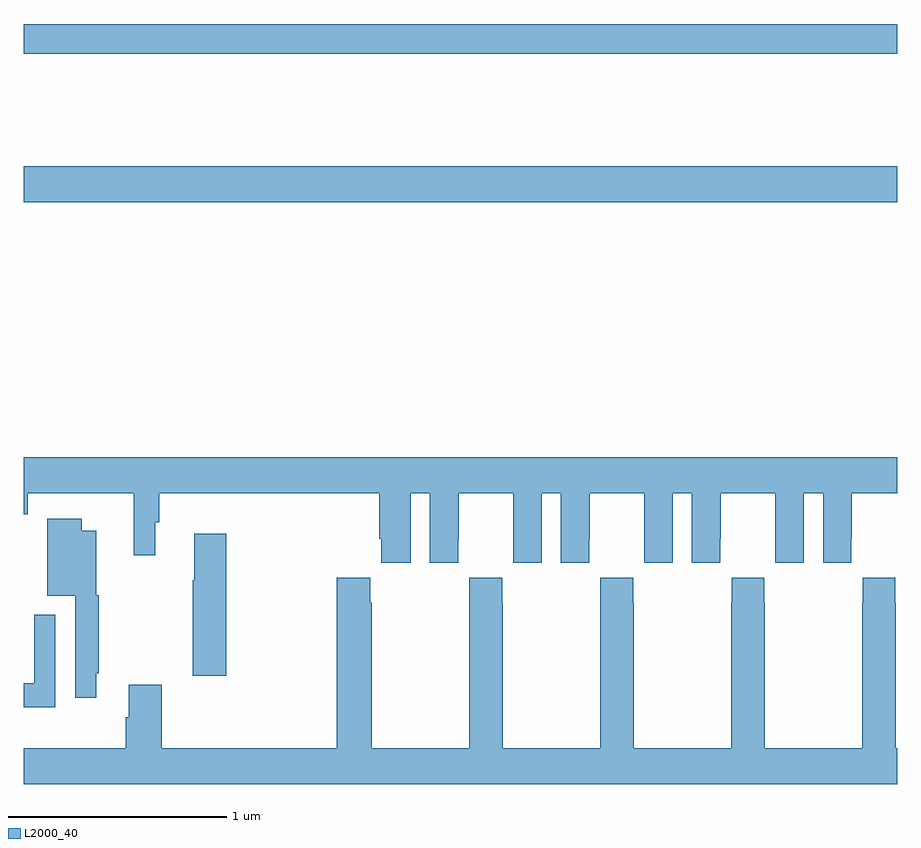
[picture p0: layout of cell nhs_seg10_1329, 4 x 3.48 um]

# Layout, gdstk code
import gdstk
lib = gdstk.Library(unit=1e-6, precision=1e-09)
def R(c, l, rs):  # rectangles x0, y0, x1, y1
    for r in rs: c.add(gdstk.rectangle(r[:2], r[2:], *l))
def P(c, l, *ps):  # polygons
    for p in ps: c.add(gdstk.Polygon(p, *l))
L2000_40 = (2000, 40)

nhs_seg10_1329 = lib.new_cell('nhs_seg10_1329')
R(nhs_seg10_1329, L2000_40, [(179,1313.636,183,1313.8), (179,1314.316,183,1314.452)])
P(nhs_seg10_1329, L2000_40, [(180.772,1312.304),(180.86,1312.304),(180.86,1311.984),(180.99,1311.984),(180.99,1312.096),(180.991,1312.096),(180.991,1312.304),(181.241,1312.304),(181.241,1312.096),(181.242,1312.096),(181.242,1311.984),(181.372,1311.984),(181.372,1312.304),(181.46,1312.304),(181.46,1311.984),(181.59,1311.984),(181.59,1312.096),(181.591,1312.096),(181.591,1312.304),(181.841,1312.304),(181.841,1312.096),(181.842,1312.096),(181.842,1311.984),(181.972,1311.984),(181.972,1312.304),(182.06,1312.304),(182.06,1311.984),(182.19,1311.984),(182.19,1312.096),(182.191,1312.096),(182.191,1312.304),(182.441,1312.304),(182.441,1312.096),(182.442,1312.096),(182.442,1311.984),(182.572,1311.984),(182.572,1312.304),(182.66,1312.304),(182.66,1311.984),(182.79,1311.984),(182.79,1312.096),(182.791,1312.096),(182.791,1312.304),(183,1312.304),(183,1312.468),(179,1312.468),(179,1312.208),(179.018,1312.208),(179.018,1312.304),(179.503,1312.304),(179.503,1312.02),(179.602,1312.02),(179.602,1312.17),(179.621,1312.17),(179.621,1312.304),(180.629,1312.304),(180.629,1312.096),(180.638,1312.096),(180.638,1311.984),(180.772,1311.984)],
  [(179.332,1311.478),(179.344,1311.478),(179.344,1311.837),(179.332,1311.837),(179.332,1312.132),(179.266,1312.132),(179.266,1312.186),(179.108,1312.186),(179.108,1311.833),(179.235,1311.833),(179.235,1311.366),(179.332,1311.366)],
  [(179.927,1312.117),(179.78,1312.117),(179.78,1311.904),(179.773,1311.904),(179.773,1311.468),(179.927,1311.468)],
  [(183,1311.136),(182.994,1311.136),(182.994,1311.803),(182.991,1311.803),(182.991,1311.916),(182.841,1311.916),(182.841,1311.803),(182.839,1311.803),(182.839,1311.136),(182.394,1311.136),(182.394,1311.803),(182.391,1311.803),(182.391,1311.916),(182.241,1311.916),(182.241,1311.803),(182.239,1311.803),(182.239,1311.136),(181.794,1311.136),(181.794,1311.803),(181.791,1311.803),(181.791,1311.916),(181.641,1311.916),(181.641,1311.803),(181.639,1311.803),(181.639,1311.136),(181.194,1311.136),(181.194,1311.803),(181.191,1311.803),(181.191,1311.916),(181.041,1311.916),(181.041,1311.803),(181.039,1311.803),(181.039,1311.136),(180.594,1311.136),(180.594,1311.803),(180.587,1311.803),(180.587,1311.916),(180.434,1311.916),(180.434,1311.136),(179.633,1311.136),(179.633,1311.427),(179.48,1311.427),(179.48,1311.278),(179.468,1311.278),(179.468,1311.136),(179,1311.136),(179,1310.972),(183,1310.972)],
  [(179.145,1311.748),(179.048,1311.748),(179.048,1311.433),(179,1311.433),(179,1311.324),(179.145,1311.324)])

lib.write_gds('nhs_seg10_1329.gds')
